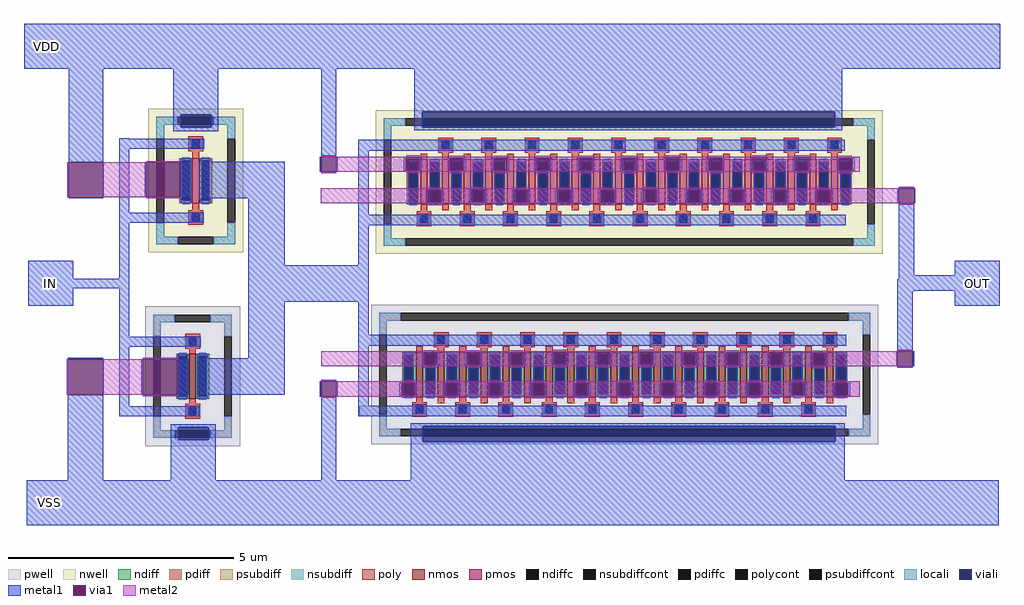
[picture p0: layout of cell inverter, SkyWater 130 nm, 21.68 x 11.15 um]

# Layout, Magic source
magic
tech sky130A
magscale 1 2
<< pwell >>
rect 2270 -584 4432 -536
<< viali >>
rect 1476 700 1611 755
rect 2549 700 4381 770
rect 1465 -688 1600 -633
rect 2552 -698 4384 -628
<< metal1 >>
rect 780 961 5116 1161
rect 979 544 1133 961
rect 1443 755 1643 961
rect 1443 700 1476 755
rect 1611 700 1643 755
rect 1443 683 1643 700
rect 979 384 1133 390
rect 1203 648 1247 651
rect 1203 604 1580 648
rect 1203 321 1247 604
rect 2100 570 2168 961
rect 2513 770 4415 961
rect 2513 700 2549 770
rect 4381 700 4415 770
rect 2513 686 4415 700
rect 2264 596 4426 644
rect 1316 390 1322 544
rect 1476 390 1524 544
rect 1558 384 1939 546
rect 2094 502 2100 570
rect 2168 502 2174 570
rect 1203 277 1578 321
rect 798 28 998 107
rect 1203 28 1247 277
rect 798 -16 1247 28
rect 798 -93 998 -16
rect 1203 -231 1247 -16
rect 1777 87 1939 384
rect 2264 312 2312 596
rect 2468 508 2478 566
rect 2538 508 2548 566
rect 2662 506 2672 564
rect 2732 506 2742 564
rect 2856 506 2866 564
rect 2926 506 2936 564
rect 3046 506 3056 564
rect 3116 506 3126 564
rect 3236 506 3246 564
rect 3306 506 3316 564
rect 3428 506 3438 564
rect 3498 506 3508 564
rect 3622 508 3632 566
rect 3692 508 3702 566
rect 3812 506 3822 564
rect 3882 506 3892 564
rect 4006 508 4016 566
rect 4076 508 4086 566
rect 4196 508 4206 566
rect 4266 508 4276 566
rect 4390 506 4400 564
rect 4460 506 4470 564
rect 2564 364 2574 422
rect 2634 364 2644 422
rect 2756 366 2766 424
rect 2826 366 2836 424
rect 2948 364 2958 422
rect 3018 364 3028 422
rect 3140 364 3150 422
rect 3210 364 3220 422
rect 3332 364 3342 422
rect 3402 364 3412 422
rect 3522 366 3532 424
rect 3592 366 3602 424
rect 3716 364 3726 422
rect 3786 364 3796 422
rect 3908 364 3918 422
rect 3978 364 3988 422
rect 4098 364 4108 422
rect 4168 364 4178 422
rect 4292 364 4302 422
rect 4362 364 4372 422
rect 4660 362 4666 430
rect 4734 362 4740 430
rect 2264 264 4430 312
rect 2264 87 2312 264
rect 1777 -75 2312 87
rect 4666 42 4734 362
rect 4915 42 5115 107
rect 4666 26 5115 42
rect 1203 -275 1565 -231
rect 975 -330 1133 -324
rect 975 -869 1133 -488
rect 1203 -539 1247 -275
rect 1777 -327 1939 -75
rect 1302 -488 1308 -330
rect 1466 -488 1510 -330
rect 1549 -489 1939 -327
rect 2264 -222 2312 -75
rect 4660 -26 5115 26
rect 4660 -28 4734 -26
rect 2264 -270 4432 -222
rect 2094 -496 2100 -428
rect 2168 -496 2174 -428
rect 1203 -583 1558 -539
rect 1431 -633 1631 -620
rect 1431 -688 1465 -633
rect 1600 -688 1631 -633
rect 1431 -869 1631 -688
rect 2100 -869 2168 -496
rect 2264 -536 2312 -270
rect 4660 -294 4728 -28
rect 4915 -93 5115 -26
rect 2546 -358 2556 -300
rect 2616 -358 2626 -300
rect 2736 -358 2746 -300
rect 2806 -358 2816 -300
rect 2930 -358 2940 -300
rect 3000 -358 3010 -300
rect 3120 -356 3130 -298
rect 3190 -356 3200 -298
rect 3314 -356 3324 -298
rect 3384 -356 3394 -298
rect 3506 -356 3516 -298
rect 3576 -356 3586 -298
rect 3698 -358 3708 -300
rect 3768 -358 3778 -300
rect 3890 -358 3900 -300
rect 3960 -358 3970 -300
rect 4082 -358 4092 -300
rect 4152 -358 4162 -300
rect 4274 -360 4284 -302
rect 4344 -360 4354 -302
rect 4654 -362 4660 -294
rect 4728 -362 4734 -294
rect 2448 -492 2458 -434
rect 2518 -492 2528 -434
rect 2640 -492 2650 -434
rect 2710 -492 2720 -434
rect 2834 -492 2844 -434
rect 2904 -492 2914 -434
rect 3024 -494 3034 -436
rect 3094 -494 3104 -436
rect 3218 -492 3228 -434
rect 3288 -492 3298 -434
rect 3408 -492 3418 -434
rect 3478 -492 3488 -434
rect 3600 -492 3610 -434
rect 3670 -492 3680 -434
rect 3794 -492 3804 -434
rect 3864 -492 3874 -434
rect 3984 -492 3994 -434
rect 4054 -492 4064 -434
rect 4180 -490 4190 -432
rect 4250 -490 4260 -432
rect 4370 -492 4380 -434
rect 4440 -492 4450 -434
rect 2264 -584 4432 -536
rect 2499 -628 4426 -614
rect 2499 -698 2552 -628
rect 4384 -698 4426 -628
rect 2499 -869 4426 -698
rect 792 -1069 5110 -869
<< via1 >>
rect 979 390 1133 544
rect 1322 390 1476 544
rect 2100 502 2168 570
rect 2478 508 2538 566
rect 2672 506 2732 564
rect 2866 506 2926 564
rect 3056 506 3116 564
rect 3246 506 3306 564
rect 3438 506 3498 564
rect 3632 508 3692 566
rect 3822 506 3882 564
rect 4016 508 4076 566
rect 4206 508 4266 566
rect 4400 506 4460 564
rect 2574 364 2634 422
rect 2766 366 2826 424
rect 2958 364 3018 422
rect 3150 364 3210 422
rect 3342 364 3402 422
rect 3532 366 3592 424
rect 3726 364 3786 422
rect 3918 364 3978 422
rect 4108 364 4168 422
rect 4302 364 4362 422
rect 4666 362 4734 430
rect 975 -488 1133 -330
rect 1308 -488 1466 -330
rect 2100 -496 2168 -428
rect 2556 -358 2616 -300
rect 2746 -358 2806 -300
rect 2940 -358 3000 -300
rect 3130 -356 3190 -298
rect 3324 -356 3384 -298
rect 3516 -356 3576 -298
rect 3708 -358 3768 -300
rect 3900 -358 3960 -300
rect 4092 -358 4152 -300
rect 4284 -360 4344 -302
rect 4660 -362 4728 -294
rect 2458 -492 2518 -434
rect 2650 -492 2710 -434
rect 2844 -492 2904 -434
rect 3034 -494 3094 -436
rect 3228 -492 3288 -434
rect 3418 -492 3478 -434
rect 3610 -492 3670 -434
rect 3804 -492 3864 -434
rect 3994 -492 4054 -434
rect 4190 -490 4250 -432
rect 4380 -492 4440 -434
<< metal2 >>
rect 2100 570 2168 576
rect 2478 570 2538 576
rect 2672 570 2732 574
rect 2866 570 2926 574
rect 3056 570 3116 574
rect 3246 570 3306 574
rect 3438 570 3498 574
rect 3632 570 3692 576
rect 3822 570 3882 574
rect 4016 570 4076 576
rect 4206 570 4266 576
rect 4400 570 4460 574
rect 1322 544 1476 550
rect 973 390 979 544
rect 1133 390 1322 544
rect 2168 566 4492 570
rect 2168 508 2478 566
rect 2538 564 3632 566
rect 2538 508 2672 564
rect 2168 506 2672 508
rect 2732 506 2866 564
rect 2926 506 3056 564
rect 3116 506 3246 564
rect 3306 506 3438 564
rect 3498 508 3632 564
rect 3692 564 4016 566
rect 3692 508 3822 564
rect 3498 506 3822 508
rect 3882 508 4016 564
rect 4076 508 4206 566
rect 4266 564 4492 566
rect 4266 508 4400 564
rect 3882 506 4400 508
rect 4460 506 4492 564
rect 2168 502 4492 506
rect 2100 496 2168 502
rect 2478 498 2538 502
rect 2672 496 2732 502
rect 2866 496 2926 502
rect 3056 496 3116 502
rect 3246 496 3306 502
rect 3438 496 3498 502
rect 3632 498 3692 502
rect 3822 496 3882 502
rect 4016 498 4076 502
rect 4206 498 4266 502
rect 4400 496 4460 502
rect 2574 430 2634 432
rect 2766 430 2826 434
rect 2958 430 3018 432
rect 3150 430 3210 432
rect 3342 430 3402 432
rect 3532 430 3592 434
rect 3726 430 3786 432
rect 3918 430 3978 432
rect 4108 430 4168 432
rect 4302 430 4362 432
rect 4666 430 4734 436
rect 1322 384 1476 390
rect 2098 424 4666 430
rect 2098 422 2766 424
rect 2098 364 2574 422
rect 2634 366 2766 422
rect 2826 422 3532 424
rect 2826 366 2958 422
rect 2634 364 2958 366
rect 3018 364 3150 422
rect 3210 364 3342 422
rect 3402 366 3532 422
rect 3592 422 4666 424
rect 3592 366 3726 422
rect 3402 364 3726 366
rect 3786 364 3918 422
rect 3978 364 4108 422
rect 4168 364 4302 422
rect 4362 364 4666 422
rect 2098 362 4666 364
rect 2574 354 2634 362
rect 2766 356 2826 362
rect 2958 354 3018 362
rect 3150 354 3210 362
rect 3342 354 3402 362
rect 3532 356 3592 362
rect 3726 354 3786 362
rect 3918 354 3978 362
rect 4108 354 4168 362
rect 4302 354 4362 362
rect 4666 356 4734 362
rect 2556 -294 2616 -290
rect 2746 -294 2806 -290
rect 2940 -294 3000 -290
rect 3130 -294 3190 -288
rect 3324 -294 3384 -288
rect 3516 -294 3576 -288
rect 3708 -294 3768 -290
rect 3900 -294 3960 -290
rect 4092 -294 4152 -290
rect 4284 -294 4344 -292
rect 4660 -294 4728 -288
rect 2100 -298 4660 -294
rect 2100 -300 3130 -298
rect 1308 -330 1466 -324
rect 969 -488 975 -330
rect 1133 -488 1308 -330
rect 2100 -358 2556 -300
rect 2616 -358 2746 -300
rect 2806 -358 2940 -300
rect 3000 -356 3130 -300
rect 3190 -356 3324 -298
rect 3384 -356 3516 -298
rect 3576 -300 4660 -298
rect 3576 -356 3708 -300
rect 3000 -358 3708 -356
rect 3768 -358 3900 -300
rect 3960 -358 4092 -300
rect 4152 -302 4660 -300
rect 4152 -358 4284 -302
rect 2100 -360 4284 -358
rect 4344 -360 4660 -302
rect 2100 -362 4660 -360
rect 2556 -368 2616 -362
rect 2746 -368 2806 -362
rect 2940 -368 3000 -362
rect 3130 -366 3190 -362
rect 3324 -366 3384 -362
rect 3516 -366 3576 -362
rect 3708 -368 3768 -362
rect 3900 -368 3960 -362
rect 4092 -368 4152 -362
rect 4284 -370 4344 -362
rect 4660 -368 4728 -362
rect 1308 -494 1466 -488
rect 2100 -428 2168 -422
rect 2458 -428 2518 -424
rect 2650 -428 2710 -424
rect 2844 -428 2904 -424
rect 3034 -428 3094 -426
rect 3228 -428 3288 -424
rect 3418 -428 3478 -424
rect 3610 -428 3670 -424
rect 3804 -428 3864 -424
rect 3994 -428 4054 -424
rect 4190 -428 4250 -422
rect 4380 -428 4440 -424
rect 2168 -432 4492 -428
rect 2168 -434 4190 -432
rect 2168 -492 2458 -434
rect 2518 -492 2650 -434
rect 2710 -492 2844 -434
rect 2904 -436 3228 -434
rect 2904 -492 3034 -436
rect 2168 -494 3034 -492
rect 3094 -492 3228 -436
rect 3288 -492 3418 -434
rect 3478 -492 3610 -434
rect 3670 -492 3804 -434
rect 3864 -492 3994 -434
rect 4054 -490 4190 -434
rect 4250 -434 4492 -432
rect 4250 -490 4380 -434
rect 4054 -492 4380 -490
rect 4440 -492 4492 -434
rect 3094 -494 4492 -492
rect 2168 -496 4492 -494
rect 2100 -502 2168 -496
rect 2458 -502 2518 -496
rect 2650 -502 2710 -496
rect 2844 -502 2904 -496
rect 3034 -504 3094 -496
rect 3228 -502 3288 -496
rect 3418 -502 3478 -496
rect 3610 -502 3670 -496
rect 3804 -502 3864 -496
rect 3994 -502 4054 -496
rect 4190 -500 4250 -496
rect 4380 -502 4440 -496
use sky130_fd_pr__pfet_01v8_XGS3BL  XM1
transform 1 0 1543 0 1 463
box -211 -319 211 319
use sky130_fd_pr__nfet_01v8_648S5X  XM2
transform 1 0 1529 0 1 -406
box -211 -310 211 310
use sky130_fd_pr__nfet_01v8_YTLFGX  XM3
transform 1 0 3449 0 1 -399
box -1127 -310 1127 310
use sky130_fd_pr__pfet_01v8_8DVCWJ  XM4
transform 1 0 3469 0 1 457
box -1127 -319 1127 319
<< labels >>
flabel metal1 780 961 980 1161 0 FreeSans 256 0 0 0 VDD
port 0 nsew
flabel metal1 792 -1069 992 -869 0 FreeSans 256 0 0 0 VSS
port 1 nsew
flabel metal1 798 -93 998 107 0 FreeSans 256 0 0 0 IN
port 3 nsew
flabel metal1 4915 -93 5115 107 0 FreeSans 256 0 0 0 OUT
port 2 nsew
<< end >>

# cell sky130_fd_pr__pfet_01v8_XGS3BL: kit device sky130_fd_pr__pfet_01v8, w 1.0 l 0.15 m 1 nf 1 diffcov 100 polycov 100 guard 1 glc 1 grc 1 gtc 1 gbc 1 tbcov 100 rlcov 100 topc 1 botc 1 poverlap 0 doverlap 1 lmin 0.15 wmin 0.42 compatible {sky130_fd_pr__pfet_01v8 sky130_fd_pr__pfet_01v8_lvt sky130_fd_pr__pfet_01v8_hvt sky130_fd_pr__pfet_g5v0d10v5} full_metal 1 viasrc 100 viadrn 100 viagate 100 viagb 0 viagr 0 viagl 0 viagt 0

# cell sky130_fd_pr__nfet_01v8_648S5X: kit device sky130_fd_pr__nfet_01v8, w 1.0 l 0.15 m 1 nf 1 diffcov 100 polycov 100 guard 1 glc 1 grc 1 gtc 1 gbc 1 tbcov 100 rlcov 100 topc 1 botc 1 poverlap 0 doverlap 1 lmin 0.15 wmin 0.42 compatible {sky130_fd_pr__nfet_01v8 sky130_fd_pr__nfet_01v8_lvt sky130_fd_bs_flash__special_sonosfet_star sky130_fd_pr__nfet_g5v0d10v5 sky130_fd_pr__nfet_05v0_nvt sky130_fd_pr__nfet_03v3_nvt} full_metal 1 viasrc 100 viadrn 100 viagate 100 viagb 0 viagr 0 viagl 0 viagt 0

# cell sky130_fd_pr__nfet_01v8_YTLFGX: kit device sky130_fd_pr__nfet_01v8, w 1.0 l 0.15 m 1 nf 20 diffcov 100 polycov 100 guard 1 glc 1 grc 1 gtc 1 gbc 1 tbcov 100 rlcov 100 topc 1 botc 1 poverlap 0 doverlap 1 lmin 0.15 wmin 0.42 compatible {sky130_fd_pr__nfet_01v8 sky130_fd_pr__nfet_01v8_lvt sky130_fd_bs_flash__special_sonosfet_star sky130_fd_pr__nfet_g5v0d10v5 sky130_fd_pr__nfet_05v0_nvt sky130_fd_pr__nfet_03v3_nvt} full_metal 1 viasrc 100 viadrn 100 viagate 100 viagb 0 viagr 0 viagl 0 viagt 0

# cell sky130_fd_pr__pfet_01v8_8DVCWJ: kit device sky130_fd_pr__pfet_01v8, w 1.0 l 0.15 m 1 nf 20 diffcov 100 polycov 100 guard 1 glc 1 grc 1 gtc 1 gbc 1 tbcov 100 rlcov 100 topc 1 botc 1 poverlap 0 doverlap 1 lmin 0.15 wmin 0.42 compatible {sky130_fd_pr__pfet_01v8 sky130_fd_pr__pfet_01v8_lvt sky130_fd_pr__pfet_01v8_hvt sky130_fd_pr__pfet_g5v0d10v5} full_metal 1 viasrc 100 viadrn 100 viagate 100 viagb 0 viagr 0 viagl 0 viagt 0
